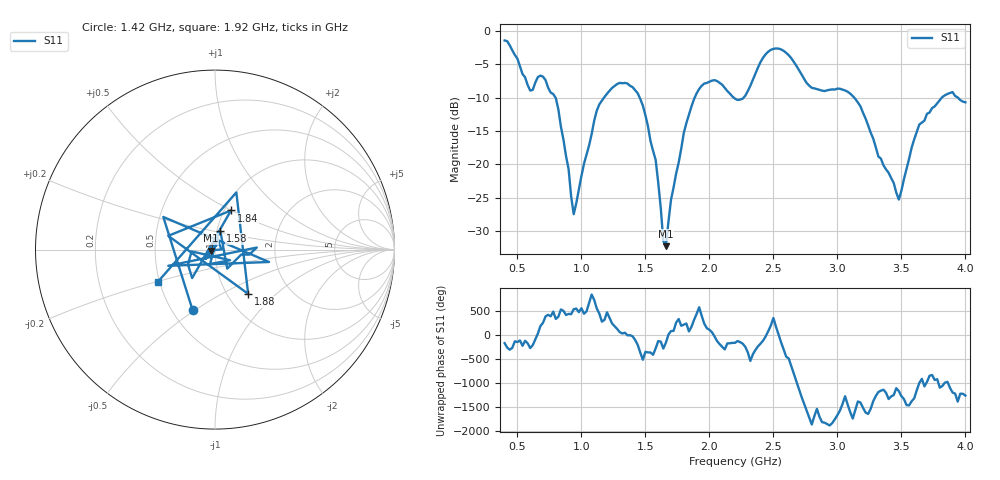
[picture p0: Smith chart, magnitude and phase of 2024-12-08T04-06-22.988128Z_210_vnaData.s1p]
!Created with skrf (http://scikit-rf.org).
# Hz S RI R 50.0
!freq ReS11 ImS11
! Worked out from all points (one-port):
!   181 points, 400 MHz to 4 GHz, reference 50 ohm
!   lowest |S11| = -32.3 dB at 1.66 GHz (marker M1), VSWR 1.05, Z = 47.7 - j0.496 ohm
!   |S11| at or under -10 dB: 797.8 MHz to 1.177 GHz (378.7 MHz wide, 38.4 % of centre); 1.455 GHz to 1.885 GHz (430.2 MHz wide, 25.8 % of centre); 3.131 GHz to 3.816 GHz (685.7 MHz wide, 19.7 % of centre) (the widest 3 of 5)
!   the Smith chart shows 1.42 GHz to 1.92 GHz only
!   S11 on the Smith chart (normalised r, x): 1.42 GHz: 0.63, -0.49; 1.58 GHz: 1.04, +0.22; 1.84 GHz: 1.08, +0.50; 1.88 GHz: 1.25, -0.68; 1.92 GHz: 0.49, -0.20
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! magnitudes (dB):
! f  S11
! 400 MHz  -1.4
! 600 MHz  -8.9
! 720 MHz  -7.4
! 800 MHz  -10.1
! 860 MHz  -16.3
! 940 MHz  -27.5
! 1.12 GHz  -12.0
! 1.3 GHz  -7.8
! 1.42 GHz  -8.9
! 1.58 GHz  -19.3
! 1.64 GHz  -31.5
! 1.66 GHz  -32.3
! 1.7 GHz  -25.3
! 1.76 GHz  -19.8
! 1.84 GHz  -12.6
! 1.88 GHz  -10.2
! 1.92 GHz  -8.7
! 2.04 GHz  -7.4
! 2.2 GHz  -10.2
! 2.48 GHz  -2.8
! 2.66 GHz  -4.7
! 2.8 GHz  -8.5
! 3.1 GHz  -9.4
! 3.48 GHz  -25.3
! 3.56 GHz  -19.2
! 3.64 GHz  -14.0
! 3.82 GHz  -9.9
! 4 GHz  -10.7
